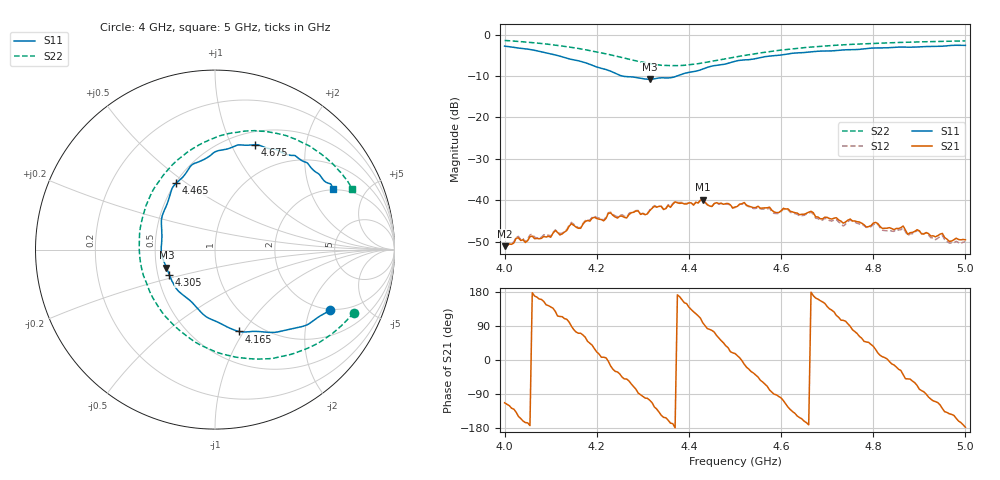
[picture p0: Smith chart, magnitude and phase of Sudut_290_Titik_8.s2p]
# Hz S RI R 50
! CMT, C1220, 16058040, 17.2.0/1
! Date: 15/08/2018 11:44:30
! Data: Format (Calibration Info)
! Freq  S11: Re/Im (F2)  S21: Re/Im (F2)  S12: Re/Im (F2)  S22: Re/Im (F2)
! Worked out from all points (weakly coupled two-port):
!   201 points, 4 GHz to 5 GHz, reference 50 ohm
!   highest |S21| = -39.84 dB at 4.43 GHz (marker M1); lowest = -51.1 dB at 4 GHz (marker M2)
!   lowest |S11| = -10.8 dB at 4.315 GHz (marker M3), VSWR 1.81, Z = 28.2 - j6.18 ohm
!   |S11| at or under -10 dB: 4.254 GHz to 4.374 GHz (119.9 MHz wide, 2.78 % of centre)
!   |S22| runs from -7.5 to -1.4 dB; largest |S21 - S12| = 0.00041
!   S11 on the Smith chart (normalised r, x): 4 GHz: 1.95, -2.77; 4.165 GHz: 0.81, -0.95; 4.305 GHz: 0.57, -0.17; 4.465 GHz: 0.51, +0.46; 4.675 GHz: 0.64, +1.24; 5 GHz: 1.95, +2.92
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4e9  0.6398 -0.3382  -0.00109 -0.00257  -0.00105 -0.00269  0.7718 -0.3509
4.03e9  0.5733 -0.3776  -0.003 -0.00183  -0.00305 -0.00201  0.7132 -0.4154
4.045e9  0.5352 -0.4063  -0.00299 -0.000792  -0.00303 -0.000942  0.6782 -0.4472
4.06e9  0.4947 -0.426  -0.00369 0.000156  -0.0039 8.8e-06  0.6415 -0.4768
4.125e9  0.2792 -0.4597  -0.00162 0.00357  -0.00169 0.00364  0.4379 -0.5792
4.145e9  0.2064 -0.456  7.12e-05 0.0052  -1.06e-05 0.0054  0.3621 -0.5969
4.165e9  0.1316 -0.4559  0.00152 0.00433  0.00156 0.00441  0.2837 -0.6086
4.17e9  0.1157 -0.4512  0.00209 0.0047  0.00207 0.00482  0.2632 -0.6094
4.215e9  -0.0326 -0.3834  0.0056 0.000724  0.00571 0.000824  0.0669 -0.5882
4.23e9  -0.0735 -0.3535  0.00678 -0.00189  0.00694 -0.00185  0.000151 -0.5682
4.305e9  -0.2549 -0.1395  -0.00121 -0.00658  -0.00129 -0.00669  -0.2927 -0.352
4.315e9  -0.2705 -0.1005  -0.0021 -0.00719  -0.00216 -0.00733  -0.3215 -0.3092
4.335e9  -0.297 -0.0343  -0.0062 -0.00573  -0.00625 -0.00577  -0.37 -0.218
4.43e9  -0.2569 0.2847  -0.00145 0.0101  -0.00121 0.01  -0.3852 0.2429
4.465e9  -0.2164 0.3693  0.00486 0.00771  0.00493 0.00751  -0.3137 0.3778
4.5e9  -0.1444 0.4528  0.00791 0.00243  0.00782 0.00235  -0.2236 0.4854
4.52e9  -0.1153 0.48  0.0092 -0.00181  0.00903 -0.00192  -0.1675 0.5324
4.585e9  0.0319 0.5537  -5.25e-05 -0.00722  -0.000133 -0.00695  0.0242 0.6333
4.67e9  0.2144 0.5832  -0.00696 0.00127  -0.00664 0.00134  0.2585 0.6593
4.675e9  0.2227 0.584  -0.00604 0.0018  -0.00579 0.00182  0.2709 0.6592
4.835e9  0.4861 0.4945  0.00466 -0.000318  0.00432 -0.000277  0.5857 0.5363
5e9  0.6571 0.3395  -0.00333 -0.000144  -0.00313 -0.000244  0.766 0.3388
